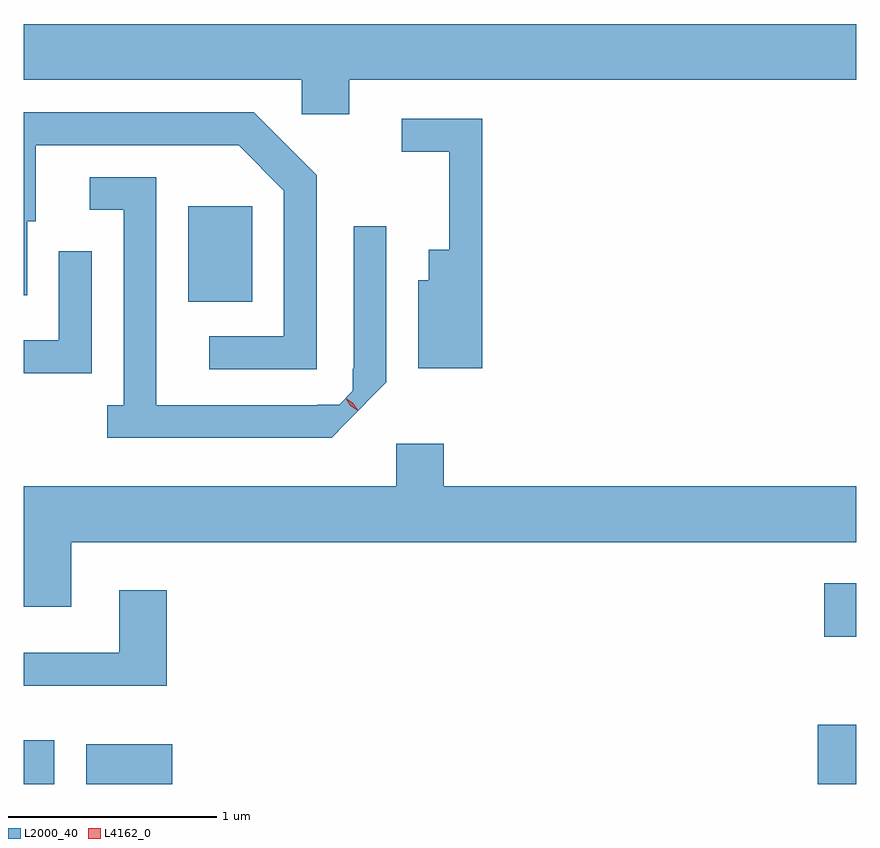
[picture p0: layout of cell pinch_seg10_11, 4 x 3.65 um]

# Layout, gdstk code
import gdstk
lib = gdstk.Library(unit=1e-6, precision=1e-09)
def R(c, l, rs):  # rectangles x0, y0, x1, y1
    for r in rs: c.add(gdstk.rectangle(r[:2], r[2:], *l))
def P(c, l, *ps):  # polygons
    for p in ps: c.add(gdstk.Polygon(p, *l))
L2000_40 = (2000, 40)
L4162_0 = (4162, 0)

pinch_seg10_11 = lib.new_cell('pinch_seg10_11')
R(pinch_seg10_11, L2000_40, [(828.241,2174.914,828.389,2175.124), (828.541,2174.914,828.954,2175.104), (832.056,2174.914,832.241,2175.199), (832.086,2175.621,832.241,2175.879), (829.031,2177.231,829.339,2177.689)])
P(pinch_seg10_11, L2000_40, [(829.804,2178.296),(832.241,2178.296),(832.241,2178.564),(828.241,2178.564),(828.241,2178.296),(829.576,2178.296),(829.576,2178.131),(829.804,2178.131)],
  [(829.649,2177.837),(829.347,2178.139),(828.241,2178.139),(828.241,2177.261),(828.259,2177.261),(828.259,2177.616),(828.299,2177.616),(828.299,2177.981),(829.274,2177.981),(829.491,2177.764),(829.491,2177.064),(829.133,2177.064),(829.133,2176.906),(829.649,2176.906)],
  [(830.444,2178.109),(830.058,2178.109),(830.058,2177.951),(830.286,2177.951),(830.286,2177.479),(830.186,2177.479),(830.186,2177.334),(830.136,2177.334),(830.136,2176.911),(830.444,2176.911)],
  [(829.787,2176.643),(829.785,2176.645),(829.984,2176.844),(829.984,2177.593),(829.826,2177.593),(829.826,2176.909),(829.823,2176.909),(829.823,2176.802),(829.757,2176.736),(829.651,2176.736),(829.651,2176.734),(828.879,2176.734),(828.879,2177.829),(828.558,2177.829),(828.558,2177.671),(828.721,2177.671),(828.721,2176.734),(828.643,2176.734),(828.643,2176.576),(829.72,2176.576)],
  [(828.569,2177.473),(828.411,2177.473),(828.411,2177.044),(828.241,2177.044),(828.241,2176.886),(828.569,2176.886)],
  [(828.469,2176.076),(832.241,2176.076),(832.241,2176.344),(830.259,2176.344),(830.259,2176.549),(830.031,2176.549),(830.031,2176.344),(828.241,2176.344),(828.241,2175.766),(828.469,2175.766)],
  [(828.929,2175.844),(828.701,2175.844),(828.701,2175.544),(828.241,2175.544),(828.241,2175.386),(828.929,2175.386)])
P(pinch_seg10_11, L4162_0, [(829.844,2176.71),(829.809,2176.731),(829.788,2176.766),(829.788,2176.766),(829.788,2176.766),(829.823,2176.745),(829.845,2176.711),(829.845,2176.71)],
  [(829.839,2176.714),(829.809,2176.73),(829.792,2176.76),(829.792,2176.761),(829.792,2176.761),(829.822,2176.745),(829.84,2176.715),(829.84,2176.714)])

lib.write_gds('pinch_seg10_11.gds')
